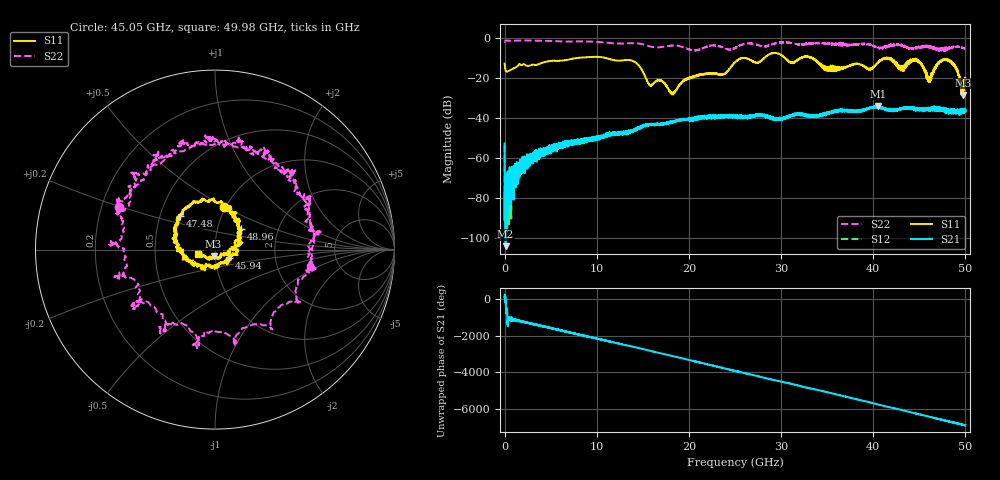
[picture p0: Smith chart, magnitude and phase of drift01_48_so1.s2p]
!Created with skrf (http://scikit-rf.org).
# Hz S RI R 50.0
!freq ReS11 ImS11 ReS21 ImS21 ReS12 ImS12 ReS22 ImS22
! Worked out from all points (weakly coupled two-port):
!   10001 points, 300 kHz to 50 GHz, reference 50 ohm
!   highest |S21| = -34.08 dB at 40.52 GHz (marker M1); lowest = -103.9 dB at 110.3 MHz (marker M2)
!   lowest |S11| = -28.5 dB at 49.72 GHz (marker M3), VSWR 1.08, Z = 49.1 - j3.61 ohm
!   |S11| at or under -10 dB: start of sweep to 8.081 GHz; 10.89 GHz to 25.83 GHz (14.94 GHz wide, 81.4 % of centre); 41.76 GHz to end of sweep (the widest 3 of 25)
!   |S22| runs from -7.0 to -1.4 dB; largest |S21 - S12| = 0.0039
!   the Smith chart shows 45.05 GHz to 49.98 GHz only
!   S11 on the Smith chart (normalised r, x): 45.05 GHz: 0.98, +0.50; 45.94 GHz: 1.17, -0.11; 47.48 GHz: 0.63, +0.26; 48.96 GHz: 1.30, +0.30; 49.98 GHz: 0.83, -0.04
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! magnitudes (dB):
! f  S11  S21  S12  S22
! 300 kHz  -12.9  -52.7  -53.4  -2.1
! 110.3 MHz  -16.4  -103.9  -75.3  -1.5
! 255.3 MHz  -16.9  -69.5  -76.3  -1.4
! 2.285 GHz  -13.7  -61.8  -62.8  -1.4
! 8.335 GHz  -9.9  -51.1  -51.3  -1.8
! 13.8 GHz  -11.4  -46.0  -46.1  -2.8
! 15.74 GHz  -23.6  -43.4  -43.5  -4.3
! 16.67 GHz  -21.2  -43.3  -43.1  -4.8
! 18.24 GHz  -27.4  -42.2  -42.0  -3.9
! 25 GHz  -12.2  -39.3  -39.1  -5.2
! 33.34 GHz  -10.1  -39.0  -39.4  -2.6
! 35.23 GHz  -14.5  -37.4  -37.4  -3.0
! 40.52 GHz  -12.5  -34.1  -34.7  -5.2
! 41.67 GHz  -10.5  -35.8  -36.3  -4.5
! 43.07 GHz  -15.1  -35.1  -35.6  -3.4
! 45.05 GHz  -12.3  -35.7  -35.9  -4.7
! 45.94 GHz  -20.7  -35.9  -35.7  -4.4
! 47.48 GHz  -11.3  -35.9  -35.3  -6.5
! 48.96 GHz  -14.7  -36.9  -37.3  -4.7
! 49.72 GHz  -28.5  -36.5  -36.9  -5.0
! 49.98 GHz  -20.3  -36.5  -36.2  -5.4
! 50 GHz  -20.7  -36.3  -36.6  -5.4
